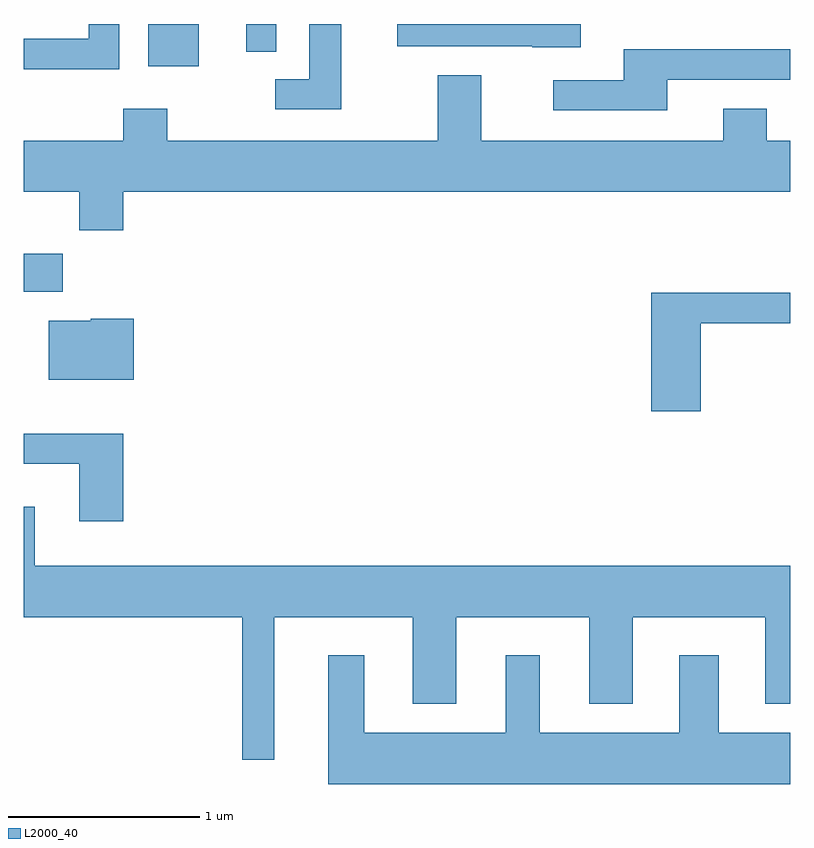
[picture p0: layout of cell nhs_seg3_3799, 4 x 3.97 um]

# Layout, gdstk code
import gdstk
lib = gdstk.Library(unit=1e-6, precision=1e-09)
def R(c, l, rs):  # rectangles x0, y0, x1, y1
    for r in rs: c.add(gdstk.rectangle(r[:2], r[2:], *l))
def P(c, l, *ps):  # polygons
    for p in ps: c.add(gdstk.Polygon(p, *l))
L2000_40 = (2000, 40)

nhs_seg3_3799 = lib.new_cell('nhs_seg3_3799')
R(nhs_seg3_3799, L2000_40, [(295.611,1236.496,295.814,1236.694), (296.261,1237.671,296.524,1237.892), (296.771,1237.748,296.929,1237.892)])
P(nhs_seg3_3799, L2000_40, [(296.109,1237.892),(295.951,1237.892),(295.951,1237.814),(295.611,1237.814),(295.611,1237.656),(296.109,1237.656)],
  [(298.519,1237.892),(297.561,1237.892),(297.561,1237.776),(298.265,1237.776),(298.265,1237.771),(298.519,1237.771)],
  [(297.269,1237.892),(297.101,1237.892),(297.101,1237.604),(296.923,1237.604),(296.923,1237.446),(297.269,1237.446)],
  [(298.969,1237.601),(299.611,1237.601),(299.611,1237.759),(298.741,1237.759),(298.741,1237.599),(298.373,1237.599),(298.373,1237.441),(298.969,1237.441)],
  [(296.129,1237.016),(299.611,1237.016),(299.611,1237.284),(299.489,1237.284),(299.489,1237.449),(299.261,1237.449),(299.261,1237.284),(297.999,1237.284),(297.999,1237.624),(297.771,1237.624),(297.771,1237.284),(296.359,1237.284),(296.359,1237.449),(296.131,1237.449),(296.131,1237.284),(295.611,1237.284),(295.611,1237.016),(295.901,1237.016),(295.901,1236.816),(296.129,1236.816)],
  [(299.144,1236.331),(299.611,1236.331),(299.611,1236.489),(298.886,1236.489),(298.886,1235.871),(299.144,1235.871)],
  [(296.184,1236.354),(295.96,1236.354),(295.96,1236.344),(295.741,1236.344),(295.741,1236.036),(296.184,1236.036)],
  [(296.129,1235.754),(295.611,1235.754),(295.611,1235.596),(295.901,1235.596),(295.901,1235.296),(296.129,1235.296)],
  [(296.919,1234.796),(297.641,1234.796),(297.641,1234.346),(297.869,1234.346),(297.869,1234.796),(298.561,1234.796),(298.561,1234.346),(298.789,1234.346),(298.789,1234.796),(299.481,1234.796),(299.481,1234.346),(299.611,1234.346),(299.611,1235.064),(295.669,1235.064),(295.669,1235.374),(295.611,1235.374),(295.611,1234.796),(296.751,1234.796),(296.751,1234.053),(296.919,1234.053)],
  [(299.611,1234.194),(299.239,1234.194),(299.239,1234.599),(299.031,1234.599),(299.031,1234.194),(298.304,1234.194),(298.304,1234.599),(298.126,1234.599),(298.126,1234.194),(297.389,1234.194),(297.389,1234.599),(297.201,1234.599),(297.201,1233.926),(299.611,1233.926)])

lib.write_gds('nhs_seg3_3799.gds')
